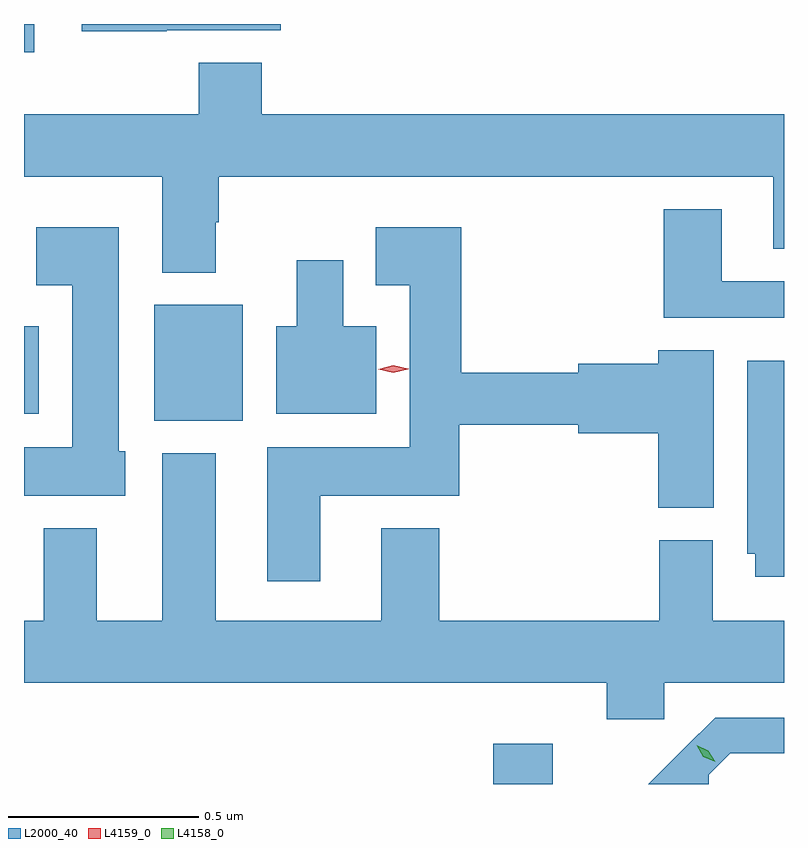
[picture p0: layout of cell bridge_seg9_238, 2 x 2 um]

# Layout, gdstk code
import gdstk
lib = gdstk.Library(unit=1e-6, precision=1e-09)
def R(c, l, rs):  # rectangles x0, y0, x1, y1
    for r in rs: c.add(gdstk.rectangle(r[:2], r[2:], *l))
def P(c, l, *ps):  # polygons
    for p in ps: c.add(gdstk.Polygon(p, *l))
L2000_40 = (2000, 40)
L4158_0 = (4158, 0)
L4159_0 = (4159, 0)

bridge_seg9_238 = lib.new_cell('bridge_seg9_238')
R(bridge_seg9_238, L2000_40, [(268.59,1185.498,268.747,1185.604), (267.698,1186.454,267.931,1186.759), (267.355,1186.472,267.394,1186.702), (267.355,1187.424,267.382,1187.498)])
P(bridge_seg9_238, L2000_40, [(267.731,1187.481),(268.031,1187.481),(268.031,1187.498),(267.507,1187.498),(267.507,1187.479),(267.731,1187.479)],
  [(267.859,1186.976),(267.867,1186.976),(267.867,1187.096),(269.327,1187.096),(269.327,1186.906),(269.355,1186.906),(269.355,1187.26),(267.98,1187.26),(267.98,1187.396),(267.815,1187.396),(267.815,1187.26),(267.355,1187.26),(267.355,1187.096),(267.719,1187.096),(267.719,1186.844),(267.859,1186.844)],
  [(269.355,1186.821),(269.191,1186.821),(269.191,1187.011),(269.039,1187.011),(269.039,1186.725),(269.355,1186.725)],
  [(268.135,1186.256),(268.5,1186.256),(268.5,1186.444),(268.814,1186.444),(268.814,1186.421),(269.024,1186.421),(269.024,1186.225),(269.17,1186.225),(269.17,1186.64),(269.024,1186.64),(269.024,1186.604),(268.814,1186.604),(268.814,1186.58),(268.505,1186.58),(268.505,1186.963),(268.28,1186.963),(268.28,1186.811),(268.37,1186.811),(268.37,1186.384),(267.995,1186.384),(267.995,1186.032),(268.135,1186.032)],
  [(267.622,1186.374),(267.604,1186.374),(267.604,1186.963),(267.387,1186.963),(267.387,1186.811),(267.482,1186.811),(267.482,1186.384),(267.355,1186.384),(267.355,1186.256),(267.622,1186.256)],
  [(268.282,1186.702),(268.195,1186.702),(268.195,1186.876),(268.073,1186.876),(268.073,1186.702),(268.019,1186.702),(268.019,1186.472),(268.282,1186.472)],
  [(269.355,1186.612),(269.258,1186.612),(269.258,1186.104),(269.279,1186.104),(269.279,1186.044),(269.355,1186.044)],
  [(269.027,1186.14),(269.027,1185.928),(268.448,1185.928),(268.448,1186.171),(268.295,1186.171),(268.295,1185.928),(267.859,1185.928),(267.859,1186.369),(267.719,1186.369),(267.719,1185.928),(267.547,1185.928),(267.547,1186.171),(267.407,1186.171),(267.407,1185.928),(267.355,1185.928),(267.355,1185.764),(268.889,1185.764),(268.889,1185.669),(269.04,1185.669),(269.04,1185.764),(269.355,1185.764),(269.355,1185.928),(269.167,1185.928),(269.167,1186.14)],
  [(269.157,1185.522),(269.214,1185.579),(269.355,1185.579),(269.355,1185.672),(269.174,1185.672),(269.09,1185.589),(268.998,1185.498),(269.157,1185.498)])
P(bridge_seg9_238, L4158_0, [(269.174,1185.556),(269.143,1185.57),(269.125,1185.6),(269.125,1185.6),(269.125,1185.6),(269.156,1185.585),(269.174,1185.556),(269.174,1185.556)])
P(bridge_seg9_238, L4159_0, [(268.327,1186.58),(268.287,1186.59),(268.287,1186.59),(268.287,1186.59),(268.327,1186.6),(268.366,1186.591),(268.367,1186.591),(268.366,1186.59)])

lib.write_gds('bridge_seg9_238.gds')
